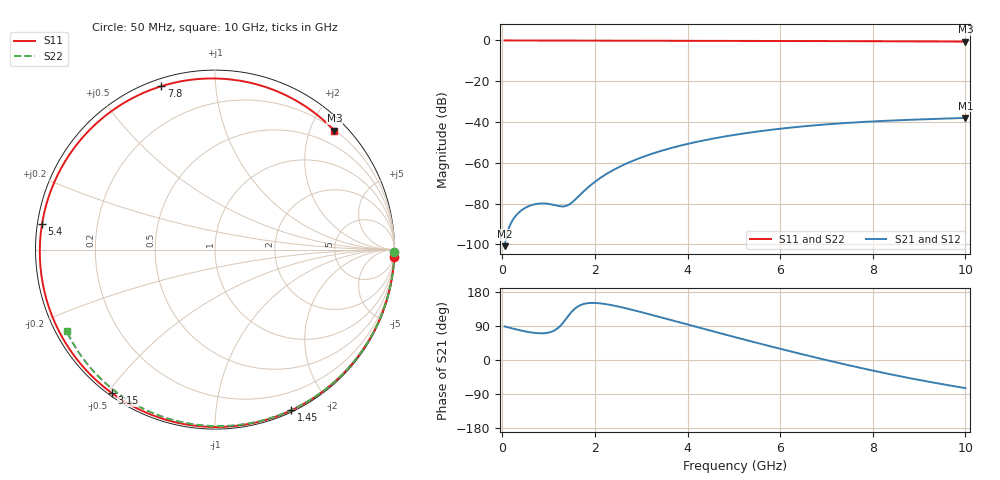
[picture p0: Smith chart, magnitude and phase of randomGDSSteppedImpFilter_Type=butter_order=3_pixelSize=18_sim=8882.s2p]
! freq	dB(S11)	phase(S11)	dB(S12)	phase(S12)
!  dB(S21)	phase(S21)	dB(S22)	phase(S22)
!S-par simulation data
#  GHz  S  DB  R 50
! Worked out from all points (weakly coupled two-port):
!   200 points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, 50 MHz to 10 GHz, reference 50 ohm
!   highest |S21| = -38.00 dB at 10 GHz (marker M1); lowest = -100.9 dB at 50 MHz (marker M2)
!   lowest |S11| = -0.5 dB at 10 GHz (marker M3), VSWR 31.67, Z = 10.8 + j120 ohm
!   |S11| at or under -10 dB: nowhere
!   |S22| runs from -0.5 to 0.0 dB; largest |S21 - S12| = 0
!   S11 on the Smith chart (normalised r, x): 50 MHz: 0, -49; 1.45 GHz: 0.02, -1.58; 3.15 GHz: 0.01, -0.51; 5.4 GHz: 0.01, +0.07; 7.8 GHz: 0.03, +0.72; 10 GHz: 0.22, +2.41
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0.05  -0.00 -2.4  -100.89 88.6  -100.89 88.6  -0.00 -0.9
0.35  -0.02 -16.3  -84.54 79.3  -84.54 79.3  -0.01 -6.1
0.65  -0.04 -30.0  -80.63 72.2  -80.63 72.2  -0.01 -11.3
1.05  -0.06 -47.7  -80.35 74.0  -80.35 74.0  -0.02 -18.1
1.45  -0.08 -64.6  -80.36 120.2  -80.36 120.2  -0.03 -24.9
1.5  -0.08 -66.6  -79.54 127.4  -79.54 127.4  -0.03 -25.8
1.75  -0.09 -76.6  -74.16 147.6  -74.16 147.6  -0.04 -30.0
2.05  -0.10 -88.1  -68.49 150.2  -68.49 150.2  -0.04 -35.0
2.35  -0.11 -99.0  -64.13 145.0  -64.13 145.0  -0.05 -40.0
2.7  -0.12 -111.0  -60.17 135.5  -60.17 135.5  -0.06 -45.7
3.15  -0.14 -125.6  -56.19 121.5  -56.19 121.5  -0.07 -53.0
3.4  -0.14 -133.3  -54.36 113.4  -54.36 113.4  -0.08 -57.0
4.2  -0.17 -156.5  -49.73 87.0  -49.73 87.0  -0.10 -69.4
5.05  -0.21 -179.4  -46.18 59.4  -46.18 59.4  -0.13 -82.3
5.4  -0.23 171.4  -45.00 48.3  -45.00 48.3  -0.14 -87.4
6.05  -0.26 154.6  -43.17 28.1  -43.17 28.1  -0.17 -96.8
6.7  -0.30 137.6  -41.72 8.5  -41.72 8.5  -0.21 -105.9
7.25  -0.33 123.1  -40.74 -7.4  -40.74 -7.4  -0.24 -113.6
7.8  -0.37 108.2  -39.96 -22.6  -39.96 -22.6  -0.28 -121.1
8.35  -0.41 92.9  -39.33 -36.9  -39.33 -36.9  -0.33 -128.6
9.15  -0.47 69.9  -38.62 -56.0  -38.62 -56.0  -0.41 -139.5
10  -0.55 44.9  -38.00 -74.2  -38.00 -74.2  -0.51 -151.2
